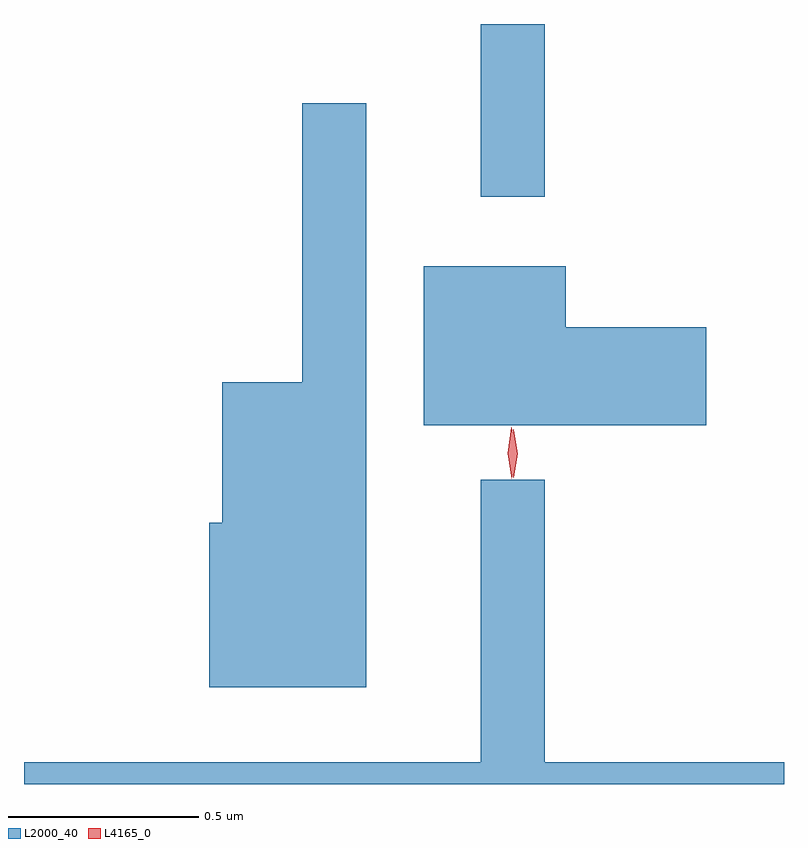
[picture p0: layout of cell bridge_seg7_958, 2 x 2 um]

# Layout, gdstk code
import gdstk
lib = gdstk.Library(unit=1e-6, precision=1e-09)
def R(c, l, rs):  # rectangles x0, y0, x1, y1
    for r in rs: c.add(gdstk.rectangle(r[:2], r[2:], *l))
def P(c, l, *ps):  # polygons
    for p in ps: c.add(gdstk.Polygon(p, *l))
L2000_40 = (2000, 40)
L4165_0 = (4165, 0)

bridge_seg7_958 = lib.new_cell('bridge_seg7_958')
R(bridge_seg7_958, L2000_40, [(600.811,1671.673,600.979,1672.127)])
P(bridge_seg7_958, L2000_40, [(600.509,1671.918),(600.341,1671.918),(600.341,1671.184),(600.131,1671.184),(600.131,1670.814),(600.096,1670.814),(600.096,1670.381),(600.509,1670.381)],
  [(601.404,1671.329),(601.034,1671.329),(601.034,1671.489),(600.661,1671.489),(600.661,1671.071),(601.404,1671.071)],
  [(601.609,1670.184),(600.979,1670.184),(600.979,1670.928),(600.811,1670.928),(600.811,1670.184),(599.609,1670.184),(599.609,1670.127),(601.609,1670.127)])
P(bridge_seg7_958, L4165_0, [(600.898,1670.933),(600.897,1670.934),(600.888,1670.996),(600.897,1671.059),(600.898,1671.06),(600.898,1671.059),(600.908,1670.996),(600.898,1670.934)],
  [(600.892,1670.93),(600.892,1670.93),(600.882,1670.998),(600.891,1671.065),(600.891,1671.066),(600.892,1671.065),(600.902,1670.998),(600.892,1670.93)])

lib.write_gds('bridge_seg7_958.gds')
